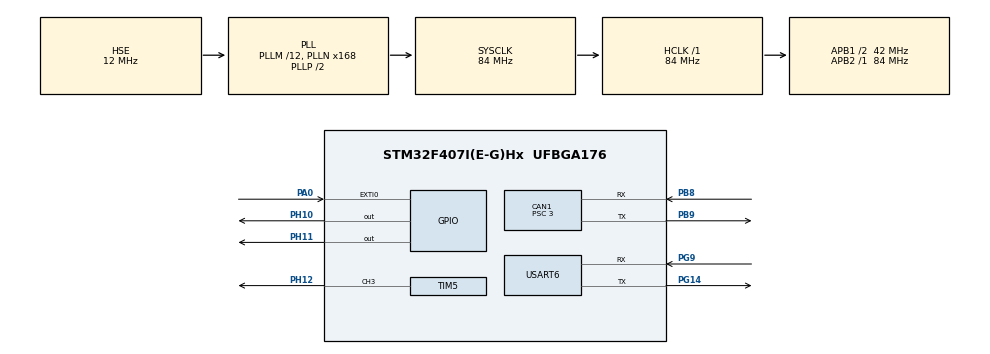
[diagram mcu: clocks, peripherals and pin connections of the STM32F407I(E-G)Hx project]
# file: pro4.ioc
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CAN1.BS1=CAN_BS1_10TQ
CAN1.BS2=CAN_BS2_3TQ
CAN1.CalculateBaudRate=1000000
CAN1.CalculateTimeBit=1000
CAN1.CalculateTimeQuantum=71.42857142857143
CAN1.Mode=CAN_MODE_LOOPBACK
CAN1.Prescaler=3
Mcu.Family=STM32F4
Mcu.Name=STM32F407I(E-G)Hx
Mcu.Package=UFBGA176
NVIC.CAN1_RX0_IRQn=true\:0\:0\:false\:false\:true\:true\:true\:true
NVIC.CAN1_TX_IRQn=true\:0\:0\:false\:false\:true\:true\:true\:true
NVIC.EXTI0_IRQn=true\:0\:0\:false\:false\:true\:true\:true\:true
NVIC.PriorityGroup=NVIC_PRIORITYGROUP_4
NVIC.USART6_IRQn=true\:0\:0\:false\:false\:true\:true\:true\:true
PA0-WKUP.GPIO_PuPd=GPIO_PULLDOWN
PA0-WKUP.Signal=GPXTI0
PA13.Mode=Serial_Wire
PA13.Signal=SYS_JTMS-SWDIO
PA14.Mode=Serial_Wire
PA14.Signal=SYS_JTCK-SWCLK
PB8.Mode=CAN_Activate
PB8.Signal=CAN1_RX
PB9.Mode=CAN_Activate
PB9.Signal=CAN1_TX
PG14.GPIO_PuPd=GPIO_PULLUP
PG14.GPIO_Speed=GPIO_SPEED_FREQ_LOW
PG14.Mode=Asynchronous
PG14.Signal=USART6_TX
PG9.GPIO_PuPd=GPIO_PULLUP
PG9.GPIO_Speed=GPIO_SPEED_FREQ_LOW
PG9.Mode=Asynchronous
PG9.Signal=USART6_RX
PH0-OSC_IN.Mode=HSE-External-Oscillator
PH0-OSC_IN.Signal=RCC_OSC_IN
PH1-OSC_OUT.Mode=HSE-External-Oscillator
PH1-OSC_OUT.Signal=RCC_OSC_OUT
PH10.GPIO_ModeDefaultOutputPP=GPIO_MODE_OUTPUT_PP
PH10.GPIO_PuPd=GPIO_PULLDOWN
PH10.PinState=GPIO_PIN_RESET
PH10.Signal=GPIO_Output
PH11.GPIO_ModeDefaultOutputPP=GPIO_MODE_OUTPUT_PP
PH11.GPIO_PuPd=GPIO_PULLDOWN
PH11.PinState=GPIO_PIN_RESET
PH11.Signal=GPIO_Output
PH12.GPIO_PuPd=GPIO_PULLDOWN
PH12.Signal=S_TIM5_CH3
ProjectManager.HeapSize=0x200
ProjectManager.StackSize=0x400
ProjectManager.TargetToolchain=CMake
RCC.48MHZClocksFreq_Value=42000000
RCC.AHBFreq_Value=84000000
RCC.APB1CLKDivider=RCC_HCLK_DIV2
RCC.APB1Freq_Value=42000000
RCC.APB1TimFreq_Value=84000000
RCC.APB2Freq_Value=84000000
RCC.APB2TimFreq_Value=84000000
RCC.CortexFreq_Value=84000000
RCC.HCLKFreq_Value=84000000
RCC.HSE_VALUE=12000000
RCC.HSI_VALUE=16000000
RCC.LSE_VALUE=32768
RCC.PLLM=12
RCC.PLLN=168
RCC.PLLSourceVirtual=RCC_PLLSOURCE_HSE
RCC.SYSCLKFreq_VALUE=84000000
RCC.SYSCLKSource=RCC_SYSCLKSOURCE_PLLCLK
RCC.VCOOutputFreq_Value=168000000
SH.S_TIM5_CH3.0=TIM5_CH3,PWM Generation3 CH3
TIM5.AutoReloadPreload=TIM_AUTORELOAD_PRELOAD_ENABLE
TIM5.Channel-PWM\ Generation3\ CH3=TIM_CHANNEL_3
TIM5.Period=999
TIM5.Prescaler=83
USART6.VirtualMode=VM_ASYNC
board=custom

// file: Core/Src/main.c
/* USER CODE BEGIN Header */
/**
  ******************************************************************************
  * @file           : main.c
  * @brief          : Main program body
  ******************************************************************************
  * @attention
  *
  * Copyright (c) 2026 STMicroelectronics.
  * All rights reserved.
  *
  * This software is licensed under terms that can be found in the LICENSE file
  * in the root directory of this software component.
  * If no LICENSE file comes with this software, it is provided AS-IS.
  *
  ******************************************************************************
  */
/* USER CODE END Header */
#include "main.h"
#include "can.h"
#include "tim.h"
#include "usart.h"
#include "gpio.h"

/* USER CODE BEGIN PV */
uint8_t pData[] = {1,2,3,4};

uint32_t ARR = 1000;

uint8_t Recved;

uint8_t data[8];

uint8_t rdata[8];

uint32_t Txmailbox;

CAN_FilterTypeDef f = {0};

void CAN_FilterTypeDef_config(void) {
  f.FilterActivation = ENABLE;
  f.FilterMode = CAN_FILTERMODE_IDMASK;
  f.FilterScale = CAN_FILTERSCALE_32BIT;
  f.FilterIdHigh = 0x0000;
  f.FilterIdLow = 0x0000;
  f.FilterMaskIdHigh = 0x0000;
  f.FilterMaskIdLow = 0x0000;
  f.FilterBank = 0;
  f.FilterFIFOAssignment = CAN_RX_FIFO0;
}

CAN_TxHeaderTypeDef h = {0};
void CAN_TxHeaderTypeDef_config(void) {
  h.StdId = 0x123;
  h.DLC = 1;
  h.TransmitGlobalTime = DISABLE;
  h.IDE = CAN_ID_STD;
  h.RTR = CAN_RTR_DATA;
}

CAN_RxHeaderTypeDef rh;

/* USER CODE END PV */

void SystemClock_Config(void);
/* USER CODE BEGIN PFP */

void HAL_UART_RxCpltCallback(UART_HandleTypeDef *huart) {
  if (huart == &huart6) {
    HAL_UART_Transmit_IT(&huart6, &Recved, 1);
    HAL_UART_Receive_IT(&huart6, &Recved, 1);
  }

}

void HAL_CAN_TxMailbox0CompleteCallback(CAN_HandleTypeDef *hcan) {
  if (hcan == &hcan1) {
    if (data[0] == 0) {
      HAL_GPIO_WritePin(GPIOH, GPIO_PIN_10, GPIO_PIN_SET);
    } else {
      HAL_GPIO_WritePin(GPIOH, GPIO_PIN_10, GPIO_PIN_RESET);
    }

  }
}

void HAL_CAN_RxFifo0MsgPendingCallback(CAN_HandleTypeDef *hcan)
{
    if (hcan->Instance == CAN1) {
        if (HAL_CAN_GetRxMessage(hcan, CAN_RX_FIFO0, &rh, rdata) == HAL_OK) {
            if (rh.IDE == CAN_ID_STD && rh.StdId == 0x123) {
                if (rdata[0] == 0)
                    HAL_GPIO_WritePin(GPIOH, GPIO_PIN_10,GPIO_PIN_SET);
                else
                    HAL_GPIO_WritePin(GPIOH, GPIO_PIN_10, GPIO_PIN_RESET);
            }

        }
    }
}
/* USER CODE END PFP */

int main(void)
{

  /* MCU Configuration--------------------------------------------------------*/

  /* Reset of all peripherals, Initializes the Flash interface and the Systick. */
  HAL_Init();

  /* Configure the system clock */
  SystemClock_Config();

  /* Initialize all configured peripherals */
  MX_GPIO_Init();
  MX_USART6_UART_Init();
  MX_TIM5_Init();
  MX_CAN1_Init();
  /* USER CODE BEGIN 2 */

  HAL_UART_Transmit(&huart6, pData, 4, HAL_MAX_DELAY);

  HAL_GPIO_WritePin(GPIOH, GPIO_PIN_10, GPIO_PIN_RESET);
  HAL_GPIO_WritePin(GPIOH, GPIO_PIN_11, GPIO_PIN_RESET);

  HAL_TIM_PWM_Start(&htim5, TIM_CHANNEL_3);

  CAN_FilterTypeDef_config();
  CAN_TxHeaderTypeDef_config();
  HAL_CAN_ConfigFilter(&hcan1, &f);
  HAL_CAN_Start(&hcan1);

  HAL_CAN_ActivateNotification(&hcan1, CAN_IT_RX_FIFO0_MSG_PENDING);

  /* USER CODE END 2 */

  /* Infinite loop */
  /* USER CODE BEGIN WHILE */
  // uint8_t brightness = 0;
  // uint8_t up = 1;

  HAL_UART_Receive_IT(&huart6, &Recved, 1);
  while (1)
  {

    // HAL_UART_Receive(&huart6, &Recved, 1, HAL_MAX_DELAY);

    // if (Recved == 1) {
    //   HAL_GPIO_WritePin(GPIOH, GPIO_PIN_10, GPIO_PIN_SET);
    //   HAL_GPIO_WritePin(GPIOH, GPIO_PIN_11, GPIO_PIN_RESET);
    // } else if (Recved == 0) {
    //   HAL_GPIO_WritePin(GPIOH, GPIO_PIN_11, GPIO_PIN_SET);
    //   HAL_GPIO_WritePin(GPIOH, GPIO_PIN_10, GPIO_PIN_RESET);
    // }

    // if (up == 1) {
    //   __HAL_TIM_SetCompare(&htim5, TIM_CHANNEL_3, brightness);
    //   ++brightness;
    //   if (brightness == ARR) {
    //     up = 0;
    //   }
    //   HAL_Delay(2);
    // } else if (up == 0) {
    //   __HAL_TIM_SetCompare(&htim5, TIM_CHANNEL_3, brightness);
    //   --brightness;
    //   if (brightness == 0) {
    //     up = 1;
    //   }
    //   HAL_Delay(2);
    // }

    data[0] = (data[0] == 0) ? 1 : 0;
    if ( HAL_CAN_GetTxMailboxesFreeLevel(&hcan1) > 0) {
      HAL_CAN_AddTxMessage(&hcan1, &h, data, &Txmailbox);
      HAL_Delay(500);
    }

    /* USER CODE END WHILE */

  }
}

void SystemClock_Config(void)
{
  RCC_OscInitTypeDef RCC_OscInitStruct = {0};
  RCC_ClkInitTypeDef RCC_ClkInitStruct = {0};

  /** Configure the main internal regulator output voltage
  */
  __HAL_RCC_PWR_CLK_ENABLE();
  __HAL_PWR_VOLTAGESCALING_CONFIG(PWR_REGULATOR_VOLTAGE_SCALE1);

  /** Initializes the RCC Oscillators according to the specified parameters
  * in the RCC_OscInitTypeDef structure.
  */
  RCC_OscInitStruct.OscillatorType = RCC_OSCILLATORTYPE_HSE;
  RCC_OscInitStruct.HSEState = RCC_HSE_ON;
  RCC_OscInitStruct.PLL.PLLState = RCC_PLL_ON;
  RCC_OscInitStruct.PLL.PLLSource = RCC_PLLSOURCE_HSE;
  RCC_OscInitStruct.PLL.PLLM = 12;
  RCC_OscInitStruct.PLL.PLLN = 168;
  RCC_OscInitStruct.PLL.PLLP = RCC_PLLP_DIV2;
  RCC_OscInitStruct.PLL.PLLQ = 4;
  if (HAL_RCC_OscConfig(&RCC_OscInitStruct) != HAL_OK)
  {
    Error_Handler();
  }

  /** Initializes the CPU, AHB and APB buses clocks
  */
  RCC_ClkInitStruct.ClockType = RCC_CLOCKTYPE_HCLK|RCC_CLOCKTYPE_SYSCLK
                              |RCC_CLOCKTYPE_PCLK1|RCC_CLOCKTYPE_PCLK2;
  RCC_ClkInitStruct.SYSCLKSource = RCC_SYSCLKSOURCE_PLLCLK;
  RCC_ClkInitStruct.AHBCLKDivider = RCC_SYSCLK_DIV1;
  RCC_ClkInitStruct.APB1CLKDivider = RCC_HCLK_DIV2;
  RCC_ClkInitStruct.APB2CLKDivider = RCC_HCLK_DIV1;

  if (HAL_RCC_ClockConfig(&RCC_ClkInitStruct, FLASH_LATENCY_2) != HAL_OK)
  {
    Error_Handler();
  }
}

void Error_Handler(void)
{
  __disable_irq();
  while (1)
  {
  }
}
